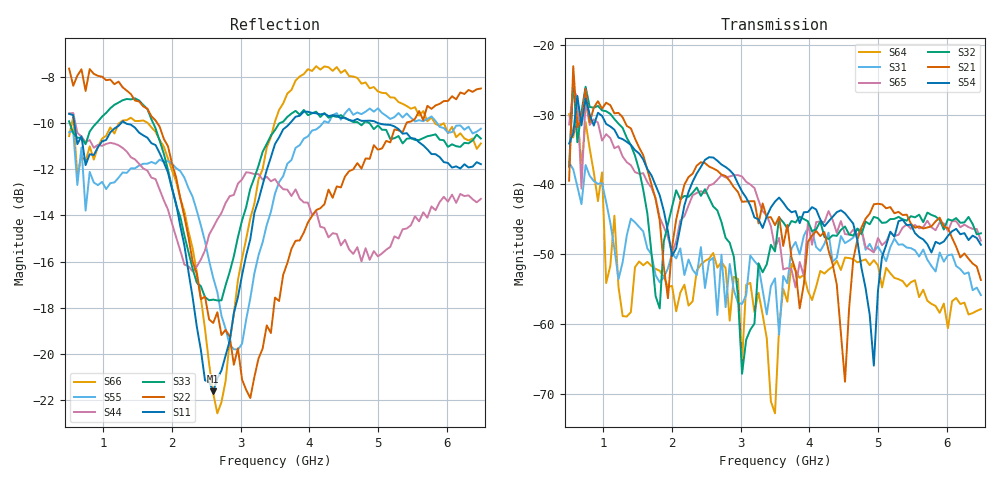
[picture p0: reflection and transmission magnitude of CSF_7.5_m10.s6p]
!Keysight Technologies,M9804A,MY58100912,A.14.10.03
!Date: Thursday, April 27, 2023 10:28:33
!Correction: S11(C  6-Port  )
!S12(C  6-Port  )
!S13(C  6-Port  )
!S14(C  6-Port  )
!S15(C  6-Port  )
!S16(C  6-Port  )
!S21(C  6-Port  )
!S22(C  6-Port  )
!S23(C  6-Port  )
!S24(C  6-Port  )
!S25(C  6-Port  )
!S26(C  6-Port  )
!S31(C  6-Port  )
!S32(C  6-Port  )
!S33(C  6-Port  )
!S34(C  6-Port  )
!S35(C  6-Port  )
!S36(C  6-Port  )
!S41(C  6-Port  )
!S42(C  6-Port  )
!S43(C  6-Port  )
!S44(C  6-Port  )
!S45(C  6-Port  )
!S46(C  6-Port  )
!S51(C  6-Port  )
!S52(C  6-Port  )
!S53(C  6-Port  )
!S54(C  6-Port  )
!S55(C  6-Port  )
!S56(C  6-Port  )
!S61(C  6-Port  )
!S62(C  6-Port  )
!S63(C  6-Port  )
!S64(C  6-Port  )
!S65(C  6-Port  )
!S66(C  6-Port  )
!S6P File: Measurement: :
# Hz S  RI  R 50
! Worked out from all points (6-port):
!   101 points, 500 MHz to 6.5 GHz, reference 50 ohm
!   strongest paths, dB at 500 MHz, 2 GHz, 3.5 GHz, 5 GHz, 6.5 GHz:
!     S54: -34.2, -50.3, -42.5, -55.3, -48.7
!     S21: -39.5, -49.0, -45.8, -42.8, -53.7
!     S32: -37.5, -43.2, -49.6, -44.9, -47.0
!     S65: -31.4, -49.7, -49.2, -47.7, -48.1
!     S31: -36.9, -49.9, -53.5, -48.9, -55.9
!     S64: -29.9, -54.6, -72.8, -51.6, -57.9
!   lowest |S11| = -21.6 dB at 2.6 GHz (marker M1), VSWR 1.18, Z = 42.6 + j2.1 ohm
!   |S11| at or under -10 dB: 576.8 MHz to 1.254 GHz (677.3 MHz wide, 74 % of centre); 1.326 GHz to 3.717 GHz (2.391 GHz wide, 94.8 % of centre); 5.01 GHz to end of sweep
